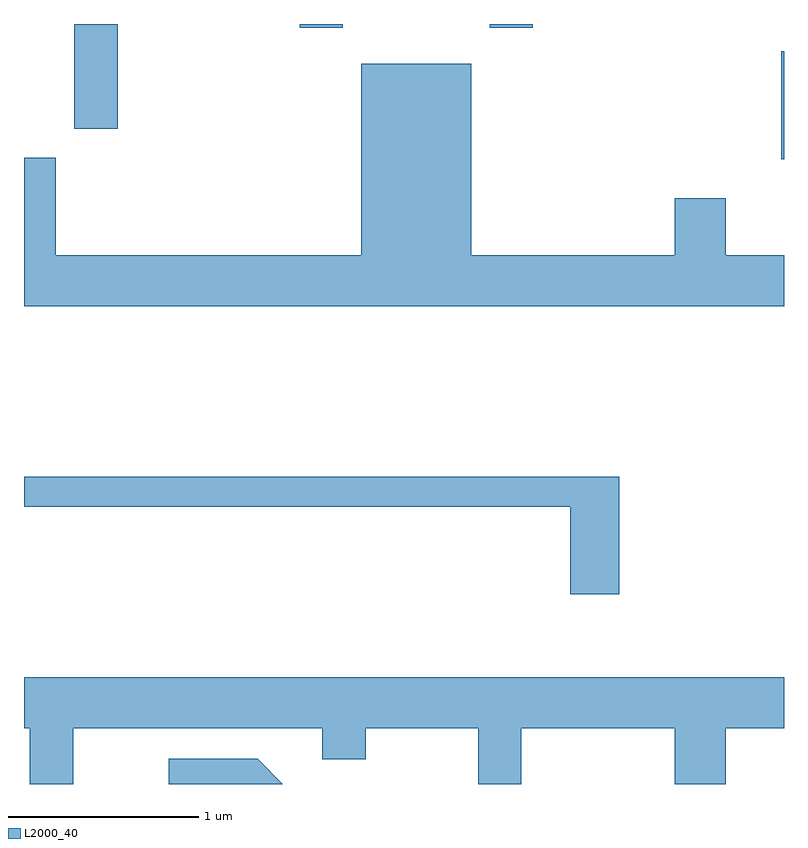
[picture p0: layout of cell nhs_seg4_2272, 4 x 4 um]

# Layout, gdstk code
import gdstk
lib = gdstk.Library(unit=1e-6, precision=1e-09)
def R(c, l, rs):  # rectangles x0, y0, x1, y1
    for r in rs: c.add(gdstk.rectangle(r[:2], r[2:], *l))
def P(c, l, *ps):  # polygons
    for p in ps: c.add(gdstk.Polygon(p, *l))
L2000_40 = (2000, 40)

nhs_seg4_2272 = lib.new_cell('nhs_seg4_2272')
R(nhs_seg4_2272, L2000_40, [(255.596,1313.271,255.611,1313.839), (251.876,1313.431,252.104,1313.982), (253.061,1313.961,253.289,1313.982), (254.061,1313.961,254.289,1313.982)])
P(nhs_seg4_2272, L2000_40, [(255.611,1312.764),(255.304,1312.764),(255.304,1313.064),(255.036,1313.064),(255.036,1312.764),(253.964,1312.764),(253.964,1313.774),(253.386,1313.774),(253.386,1312.764),(251.779,1312.764),(251.779,1313.279),(251.611,1313.279),(251.611,1312.496),(255.611,1312.496)],
  [(254.744,1311.599),(251.611,1311.599),(251.611,1311.441),(254.486,1311.441),(254.486,1310.981),(254.744,1310.981)],
  [(251.869,1310.276),(253.181,1310.276),(253.181,1310.111),(253.409,1310.111),(253.409,1310.276),(254.001,1310.276),(254.001,1309.982),(254.229,1309.982),(254.229,1310.276),(255.036,1310.276),(255.036,1309.982),(255.304,1309.982),(255.304,1310.276),(255.611,1310.276),(255.611,1310.544),(251.611,1310.544),(251.611,1310.276),(251.641,1310.276),(251.641,1309.982),(251.869,1309.982)],
  [(252.842,1310.114),(252.373,1310.114),(252.373,1309.982),(252.974,1309.982)])

lib.write_gds('nhs_seg4_2272.gds')
